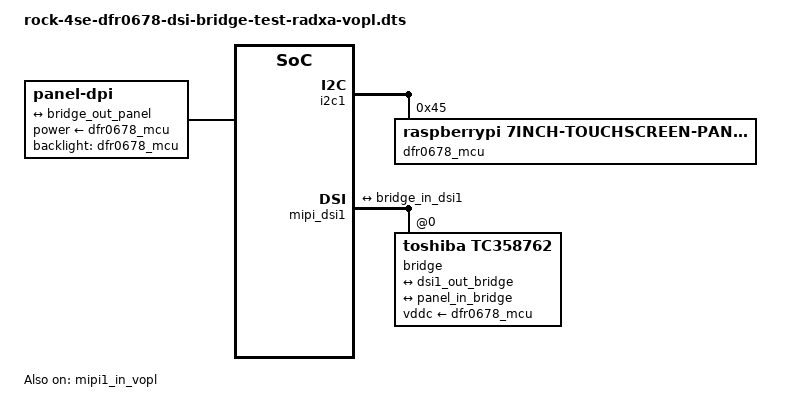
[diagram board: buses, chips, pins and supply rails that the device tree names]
// SPDX-License-Identifier: (GPL-2.0+ OR MIT)
/*
 * Experimental DFR0678 test matching Radxa's working DSI1-to-VOPL route.
 *
 * This is identical to test-radxa except that DSI1's VOPB input endpoint is
 * disabled and its VOPL input endpoint is enabled. Keep the Build 19 kernel
 * patches, 696 Mbps lane rate, Radxa TC358762 setup, and panel timing fixed.
 * DSI0 supplies the shared PHY PLL but its display host remains disabled.
 * Do not load with another overlay that claims I2C1 address 0x45.
 */

/dts-v1/;
/plugin/;

&{/} {
	panel {
		compatible = "panel-dpi";
		power-supply = <&dfr0678_mcu>;
		backlight = <&dfr0678_mcu>;
		width-mm = <154>;
		height-mm = <86>;

		panel-timing {
			clock-frequency = <26000000>;
			hactive = <800>;
			vactive = <480>;
			hfront-porch = <1>;
			hsync-len = <5>;
			hback-porch = <40>;
			vfront-porch = <7>;
			vsync-len = <1>;
			vback-porch = <21>;
			hsync-active = <0>;
			vsync-active = <0>;
			de-active = <0>;
			pixelclk-active = <0>;
		};

		port {
			panel_in_bridge: endpoint {
				remote-endpoint = <&bridge_out_panel>;
			};
		};
	};
};

&i2c1 {
	#address-cells = <1>;
	#size-cells = <0>;
	status = "okay";

	dfr0678_mcu: regulator@45 {
		compatible = "raspberrypi,7inch-touchscreen-panel-regulator";
		reg = <0x45>;
	};
};

&mipi1_in_vopb {
	status = "disabled";
};

&mipi1_in_vopl {
	status = "okay";
};

&mipi_dsi1 {
	#address-cells = <1>;
	#size-cells = <0>;
	status = "okay";
	rockchip,dsi-dsi0 = <&mipi_dsi>;
	rockchip,lane-rate = <696>;

	bridge@0 {
		compatible = "toshiba,tc358762";
		reg = <0>;
		vddc-supply = <&dfr0678_mcu>;
		toshiba,radxa-init;

		ports {
			#address-cells = <1>;
			#size-cells = <0>;

			port@0 {
				reg = <0>;

				bridge_in_dsi1: endpoint {
					remote-endpoint = <&dsi1_out_bridge>;
				};
			};

			port@1 {
				reg = <1>;

				bridge_out_panel: endpoint {
					remote-endpoint = <&panel_in_bridge>;
				};
			};
		};
	};

	ports {
		#address-cells = <1>;
		#size-cells = <0>;

		port@1 {
			reg = <1>;

			dsi1_out_bridge: endpoint {
				remote-endpoint = <&bridge_in_dsi1>;
			};
		};
	};
};
